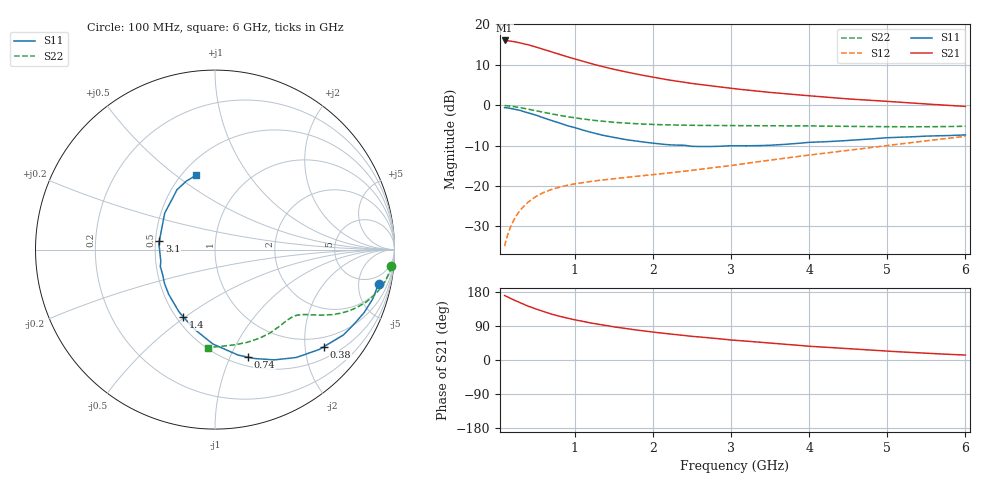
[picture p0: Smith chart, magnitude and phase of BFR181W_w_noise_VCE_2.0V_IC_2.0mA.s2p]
! Infineon Technologies  Discrete & RF Semiconductors
! BFR181W
! VCE =  2.0 V,  IC =  2.0 mA
! Common Emitter S-Parameters:  Nov 2015
# GHz  S  MA  R  50
!  f  S11  S21  S12  S22
! GHz  MAG  ANG  MAG  ANG  MAG  ANG  MAG  ANG
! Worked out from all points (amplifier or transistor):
!   192 points, 100 MHz to 6 GHz, reference 50 ohm
!   highest |S21| = 16.0 dB at 100 MHz (marker M1)
!   |S21| within 3 dB of that: start of sweep to 731.3 MHz
!   unconditionally stable (mu >= 1): 2.018 GHz to 3.578 GHz
!   at 440 MHz: K = 0.30, MSG = 19.1 dB, |S12| = -23.5 dB
!   at 1.7 GHz: K = 0.92, MSG = 12.9 dB, |S12| = -17.8 dB
!   at 6 GHz: K = 0.79, MSG = 3.7 dB, |S12| = -7.7 dB
!   lowest NFmin = 1.35 dB at 450 MHz
!   S11 on the Smith chart (normalised r, x): 100 MHz: 3.05, -8.70; 380 MHz: 0.76, -2.42; 740 MHz: 0.59, -1.17; 1.4 GHz: 0.54, -0.49; 3.1 GHz: 0.52, +0.06; 6 GHz: 0.59, +0.59
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0.1  0.9314 -11.7  6.301 170.1  0.018 82.7  0.9872 -5.4
0.155  0.9184 -17.9  6.227 164.4  0.0276 79.2  0.9758 -8.2
0.2  0.9018 -22.9  6.142 160.2  0.035 76.8  0.9645 -10.5
0.26  0.8738 -29.5  5.988 154.6  0.0444 72.9  0.945 -13.3
0.38  0.8131 -41.7  5.626 144.1  0.0603 66.7  0.9003 -18.2
0.4  0.8042 -43.8  5.578 142.2  0.0629 65.9  0.8929 -19.0
0.5  0.7525 -53.0  5.232 134.6  0.0739 61.4  0.8526 -22.3
0.6  0.6972 -61.8  4.896 127.6  0.083 58.1  0.8143 -25.0
0.7  0.6457 -70.0  4.559 121.1  0.0904 55.2  0.7788 -27.2
0.74  0.6269 -72.9  4.434 119.0  0.0928 54.3  0.7661 -27.9
0.9  0.5577 -84.4  3.963 110.5  0.1018 51.4  0.7194 -30.4
1  0.5264 -91.2  3.718 105.9  0.1063 50.1  0.6949 -31.7
1.1  0.4916 -96.9  3.483 102.1  0.1101 49.3  0.6745 -32.7
1.2  0.4623 -103.4  3.266 97.7  0.1139 48.6  0.6543 -33.8
1.4  0.4154 -115.2  2.919 90.6  0.1198 48.1  0.6249 -35.4
1.72  0.3662 -131.8  2.496 81.1  0.1296 48.9  0.5932 -37.8
2.08  0.3316 -149.5  2.144 71.9  0.1405 51.0  0.5732 -40.7
2.5  0.3088 -167.9  1.851 62.4  0.156 53.7  0.5622 -44.4
3.1  0.3136 170.8  1.572 51.3  0.1846 57.2  0.5572 -51.2
4.1  0.3488 141.4  1.28 35.1  0.248 59.2  0.5508 -64.8
5.1  0.3978 120.5  1.096 22.2  0.3254 57.4  0.5403 -80.2
6  0.4275 104.3  0.963 13.0  0.4109 53.5  0.5472 -94.2
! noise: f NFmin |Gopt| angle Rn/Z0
0.45  1.35  0.6  17  0.4
0.9  1.45  0.5  36  0.4
1.8  1.8  0.31  80  0.37
